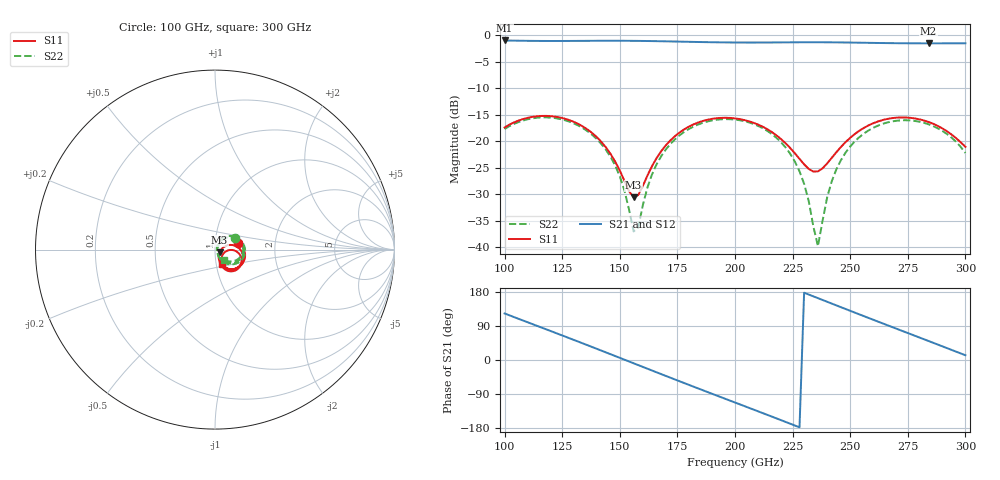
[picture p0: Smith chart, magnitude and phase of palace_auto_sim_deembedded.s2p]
! Created with skrf 1.11.0 (http://scikit-rf.org).
# GHz S DB R 50.0
!freq dBS11 angS11 dBS21 angS21 dBS12 angS12 dBS22 angS22
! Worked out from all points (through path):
!   101 points, 100 GHz to 300 GHz, reference 50 ohm
!   highest |S21| = -0.98 dB at 100 GHz (marker M1); lowest = -1.5 dB at 284 GHz (marker M2)
!   group delay of S21, straight-line fit = 6.54 ps
!   lowest |S11| = -30.6 dB at 156 GHz (marker M3), VSWR 1.06, Z = 52.6 - j1.57 ohm
!   |S11| at or under -10 dB: start of sweep to end of sweep
!   |S22| runs from -39.8 to -15.5 dB; largest |S21 - S12| = 1e-13
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100  -17.40 15.3  -0.98 122.8  -0.98 122.8  -17.70 30.7
116  -15.23 -16.9  -1.07 85.7  -1.07 85.7  -15.50 -1.2
134  -17.23 -52.7  -1.05 43.7  -1.05 43.7  -17.53 -37.8
148  -23.85 -69.0  -1.03 10.5  -1.03 10.5  -24.59 -61.1
152  -27.48 -61.3  -1.04 0.9  -1.04 0.9  -29.29 -60.3
156  -30.62 -30.4  -1.05 -8.7  -1.05 -8.7  -37.03 -23.4
158  -30.15 -8.9  -1.06 -13.4  -1.06 -13.4  -36.29 25.8
162  -26.48 14.5  -1.08 -23.0  -1.08 -23.0  -28.73 54.5
168  -21.87 18.3  -1.13 -37.3  -1.13 -37.3  -22.80 52.0
184  -16.47 -5.1  -1.27 -75.0  -1.27 -75.0  -16.85 23.2
200  -15.69 -33.6  -1.36 -112.2  -1.36 -112.2  -15.92 -8.9
212  -17.26 -52.7  -1.37 -140.0  -1.37 -140.0  -17.53 -33.0
222  -20.41 -62.3  -1.34 -163.5  -1.34 -163.5  -21.20 -52.3
230  -24.36 -53.5  -1.32 177.5  -1.32 177.5  -28.05 -62.0
234  -25.73 -36.5  -1.32 168.0  -1.32 168.0  -36.05 -45.8
236  -25.69 -26.0  -1.32 163.2  -1.32 163.2  -39.82 6.6
242  -23.14 -4.7  -1.33 148.9  -1.33 148.9  -27.55 62.0
248  -20.17 -1.4  -1.36 134.6  -1.36 134.6  -22.16 55.0
258  -17.00 -11.6  -1.43 110.9  -1.43 110.9  -17.96 35.6
268  -15.65 -27.3  -1.49 87.5  -1.49 87.5  -16.28 14.8
284  -16.37 -53.1  -1.52 50.1  -1.52 50.1  -16.81 -18.4
300  -21.06 -65.7  -1.51 12.5  -1.51 12.5  -22.21 -47.3
